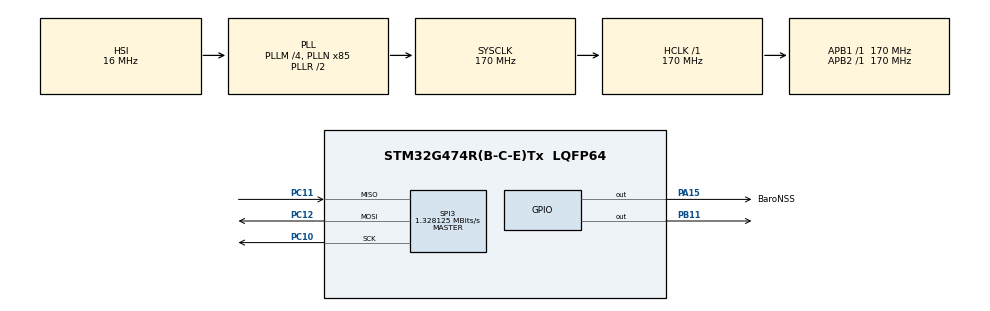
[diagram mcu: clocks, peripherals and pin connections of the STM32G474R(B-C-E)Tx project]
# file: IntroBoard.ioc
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Mcu.Family=STM32G4
Mcu.Name=STM32G474R(B-C-E)Tx
Mcu.Package=LQFP64
NUCLEO-G474RE.BUTTON=1
NUCLEO-G474RE.Bsp_Common_DEMO=true
NUCLEO-G474RE.LD2=true
NUCLEO-G474RE.VCP=true
NVIC.EXTI15_10_IRQn=true\:0\:0\:false\:false\:true\:false\:true\:true
NVIC.PriorityGroup=NVIC_PRIORITYGROUP_4
PA13.GPIO_Label=T_SWDIO
PA13.Signal=SYS_JTMS-SWDIO
PA14.GPIO_Label=T_SWCLK
PA14.Signal=SYS_JTCK-SWCLK
PA15.GPIO_Label=BaroNSS
PA15.PinState=GPIO_PIN_SET
PA15.Signal=GPIO_Output
PA2.Signal=LPUART1_TX
PA3.Signal=LPUART1_RX
PB11.Signal=GPIO_Output
PB3.GPIO_Label=T_SWO
PB3.Signal=SYS_JTDO-SWO
PC10.Mode=Full_Duplex_Master
PC10.Signal=SPI3_SCK
PC11.Mode=Full_Duplex_Master
PC11.Signal=SPI3_MISO
PC12.Mode=Full_Duplex_Master
PC12.Signal=SPI3_MOSI
PC14-OSC32_IN.GPIO_Label=RCC_OSC32_IN
PC14-OSC32_IN.Signal=RCC_OSC32_IN
PC15-OSC32_OUT.GPIO_Label=RCC_OSC32_OUT
PC15-OSC32_OUT.Signal=RCC_OSC32_OUT
PF0-OSC_IN.GPIO_Label=RCC_OSC_IN
PF0-OSC_IN.Signal=RCC_OSC_IN
PF1-OSC_OUT.GPIO_Label=RCC_OSC_OUT
PF1-OSC_OUT.Signal=RCC_OSC_OUT
ProjectManager.HeapSize=0x200
ProjectManager.StackSize=0x400
ProjectManager.TargetToolchain=Makefile
RCC.ADC12Freq_Value=170000000
RCC.ADC345Freq_Value=170000000
RCC.AHBFreq_Value=170000000
RCC.APB1Freq_Value=170000000
RCC.APB1TimFreq_Value=170000000
RCC.APB2Freq_Value=170000000
RCC.APB2TimFreq_Value=170000000
RCC.CortexFreq_Value=170000000
RCC.EXTERNAL_CLOCK_VALUE=12288000
RCC.HCLKFreq_Value=170000000
RCC.HSE_VALUE=24000000
RCC.HSI48_VALUE=48000000
RCC.HSI_VALUE=16000000
RCC.LSE_VALUE=32768
RCC.PLLM=RCC_PLLM_DIV4
RCC.PLLN=85
RCC.RTCClockSelection=RCC_RTCCLKSOURCE_LSE
RCC.SYSCLKFreq_VALUE=170000000
RCC.SYSCLKSource=RCC_SYSCLKSOURCE_PLLCLK
RCC.USBFreq_Value=170000000
RCC.VCOOutputFreq_Value=340000000
SPI3.BaudRatePrescaler=SPI_BAUDRATEPRESCALER_128
SPI3.CalculateBaudRate=1.328125 MBits/s
SPI3.DataSize=SPI_DATASIZE_8BIT
SPI3.Direction=SPI_DIRECTION_2LINES
SPI3.Mode=SPI_MODE_MASTER
SPI3.VirtualType=VM_MASTER
VP_NUCLEO-G474RE_VS_BSP_COMMON.Mode=COMMON
VP_SYS_VS_DBSignals.Mode=DisableDeadBatterySignals
board=NUCLEO-G474RE

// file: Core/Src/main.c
/* USER CODE BEGIN Header */
/**
  ******************************************************************************
  * @file           : main.c
  * @brief          : Main program body
  ******************************************************************************
  * @attention
  *
  * Copyright (c) 2026 STMicroelectronics.
  * All rights reserved.
  *
  * This software is licensed under terms that can be found in the LICENSE file
  * in the root directory of this software component.
  * If no LICENSE file comes with this software, it is provided AS-IS.
  *
  ******************************************************************************
  */
/* USER CODE END Header */
#include "main.h"

COM_InitTypeDef BspCOMInit;
__IO uint32_t BspButtonState = BUTTON_RELEASED;
SPI_HandleTypeDef hspi3;

void SystemClock_Config(void);
static void MX_GPIO_Init(void);
static void MX_SPI3_Init(void);
/* USER CODE BEGIN PFP */

void blink(int times, uint32_t on_ms, uint32_t off_ms);
/* USER CODE END PFP */

int main(void)
{

  /* MCU Configuration--------------------------------------------------------*/

  /* Reset of all peripherals, Initializes the Flash interface and the Systick. */
  HAL_Init();

  /* Configure the system clock */
  SystemClock_Config();

  /* Initialize all configured peripherals */
  MX_GPIO_Init();
  MX_SPI3_Init();
  /* USER CODE BEGIN 2 */

  GPIO_InitTypeDef GPIO_InitStruct = {0};
  GPIO_InitStruct.Pin = GPIO_PIN_8;
  GPIO_InitStruct.Mode = GPIO_MODE_OUTPUT_PP;
  GPIO_InitStruct.Pull = GPIO_NOPULL;
  GPIO_InitStruct.Speed = GPIO_SPEED_FREQ_LOW;
  HAL_GPIO_Init(GPIOA, &GPIO_InitStruct);
  HAL_GPIO_WritePin(GPIOA, GPIO_PIN_8, GPIO_PIN_SET);
  /* USER CODE END 2 */

  /* Initialize led */
  BSP_LED_Init(LED_GREEN);

  /* Initialize USER push-button, will be used to trigger an interrupt each time it's pressed.*/
  BSP_PB_Init(BUTTON_USER, BUTTON_MODE_EXTI);

  /* Initialize COM1 port (115200, 8 bits (7-bit data + 1 stop bit), no parity */
  BspCOMInit.BaudRate   = 115200;
  BspCOMInit.WordLength = COM_WORDLENGTH_8B;
  BspCOMInit.StopBits   = COM_STOPBITS_1;
  BspCOMInit.Parity     = COM_PARITY_NONE;
  BspCOMInit.HwFlowCtl  = COM_HWCONTROL_NONE;
  if (BSP_COM_Init(COM1, &BspCOMInit) != BSP_ERROR_NONE)
  {
    Error_Handler();
  }

  /* USER CODE BEGIN BSP */

  /* -- Sample board code to send message over COM1 port ---- */
  printf("Welcome to STM32 world !\n\r");

  /* -- Sample board code to switch on led ---- */
  BSP_LED_On(LED_GREEN);

  /* USER CODE END BSP */

  /* Infinite loop */
  /* USER CODE BEGIN WHILE */
  blink(3, 150, 150);
  while (1)
  {

    /* -- Sample board code for User push-button in interrupt mode ---- */
    if (BspButtonState == BUTTON_PRESSED)
    {
      // PROPER COMMAND FOR FLASHING: make -j all && make flash
      HAL_GPIO_WritePin(BaroNSS_GPIO_Port, BaroNSS_Pin, GPIO_PIN_RESET);
        if (HAL_GPIO_ReadPin(BaroNSS_GPIO_Port, BaroNSS_Pin) == GPIO_PIN_RESET)
          blink(2, 500, 200);     // CS really went low
        else
          blink(6, 80, 80);       // fast blinks = readback disagrees

      HAL_GPIO_WritePin(BaroNSS_GPIO_Port, BaroNSS_Pin, GPIO_PIN_SET);
        if (HAL_GPIO_ReadPin(BaroNSS_GPIO_Port, BaroNSS_Pin) == GPIO_PIN_SET)
          blink(3, 500, 200);     // CS really went high
        else
          blink(6, 80, 80);
      /* Update button state */
      BspButtonState = BUTTON_RELEASED;
      /* -- Sample board code to toggle led ---- */
      //HAL_GPIO_TogglePin(GPIOA, GPIO_PIN_8);
      //HAL_GPIO_WritePin();
      //BSP_LED_Toggle(LED_GREEN);

      /* ..... Perform your action ..... */
    }
    /* USER CODE END WHILE */

  }
}

void SystemClock_Config(void)
{
  RCC_OscInitTypeDef RCC_OscInitStruct = {0};
  RCC_ClkInitTypeDef RCC_ClkInitStruct = {0};

  /** Configure the main internal regulator output voltage
  */
  HAL_PWREx_ControlVoltageScaling(PWR_REGULATOR_VOLTAGE_SCALE1_BOOST);

  /** Initializes the RCC Oscillators according to the specified parameters
  * in the RCC_OscInitTypeDef structure.
  */
  RCC_OscInitStruct.OscillatorType = RCC_OSCILLATORTYPE_HSI;
  RCC_OscInitStruct.HSIState = RCC_HSI_ON;
  RCC_OscInitStruct.HSICalibrationValue = RCC_HSICALIBRATION_DEFAULT;
  RCC_OscInitStruct.PLL.PLLState = RCC_PLL_ON;
  RCC_OscInitStruct.PLL.PLLSource = RCC_PLLSOURCE_HSI;
  RCC_OscInitStruct.PLL.PLLM = RCC_PLLM_DIV4;
  RCC_OscInitStruct.PLL.PLLN = 85;
  RCC_OscInitStruct.PLL.PLLP = RCC_PLLP_DIV2;
  RCC_OscInitStruct.PLL.PLLQ = RCC_PLLQ_DIV2;
  RCC_OscInitStruct.PLL.PLLR = RCC_PLLR_DIV2;
  if (HAL_RCC_OscConfig(&RCC_OscInitStruct) != HAL_OK)
  {
    Error_Handler();
  }

  /** Initializes the CPU, AHB and APB buses clocks
  */
  RCC_ClkInitStruct.ClockType = RCC_CLOCKTYPE_HCLK|RCC_CLOCKTYPE_SYSCLK
                              |RCC_CLOCKTYPE_PCLK1|RCC_CLOCKTYPE_PCLK2;
  RCC_ClkInitStruct.SYSCLKSource = RCC_SYSCLKSOURCE_PLLCLK;
  RCC_ClkInitStruct.AHBCLKDivider = RCC_SYSCLK_DIV1;
  RCC_ClkInitStruct.APB1CLKDivider = RCC_HCLK_DIV1;
  RCC_ClkInitStruct.APB2CLKDivider = RCC_HCLK_DIV1;

  if (HAL_RCC_ClockConfig(&RCC_ClkInitStruct, FLASH_LATENCY_4) != HAL_OK)
  {
    Error_Handler();
  }
}

static void MX_SPI3_Init(void)
{

  /* SPI3 parameter configuration*/
  hspi3.Instance = SPI3;
  hspi3.Init.Mode = SPI_MODE_MASTER;
  hspi3.Init.Direction = SPI_DIRECTION_2LINES;
  hspi3.Init.DataSize = SPI_DATASIZE_8BIT;
  hspi3.Init.CLKPolarity = SPI_POLARITY_LOW;
  hspi3.Init.CLKPhase = SPI_PHASE_1EDGE;
  hspi3.Init.NSS = SPI_NSS_SOFT;
  hspi3.Init.BaudRatePrescaler = SPI_BAUDRATEPRESCALER_128;
  hspi3.Init.FirstBit = SPI_FIRSTBIT_MSB;
  hspi3.Init.TIMode = SPI_TIMODE_DISABLE;
  hspi3.Init.CRCCalculation = SPI_CRCCALCULATION_DISABLE;
  hspi3.Init.CRCPolynomial = 7;
  hspi3.Init.CRCLength = SPI_CRC_LENGTH_DATASIZE;
  hspi3.Init.NSSPMode = SPI_NSS_PULSE_ENABLE;
  if (HAL_SPI_Init(&hspi3) != HAL_OK)
  {
    Error_Handler();
  }

}

static void MX_GPIO_Init(void)
{
  GPIO_InitTypeDef GPIO_InitStruct = {0};

  /* GPIO Ports Clock Enable */
  __HAL_RCC_GPIOC_CLK_ENABLE();
  __HAL_RCC_GPIOF_CLK_ENABLE();
  __HAL_RCC_GPIOB_CLK_ENABLE();
  __HAL_RCC_GPIOA_CLK_ENABLE();

  /*Configure GPIO pin Output Level */
  HAL_GPIO_WritePin(GPIOB, GPIO_PIN_11, GPIO_PIN_RESET);

  /*Configure GPIO pin Output Level */
  HAL_GPIO_WritePin(BaroNSS_GPIO_Port, BaroNSS_Pin, GPIO_PIN_SET);

  /*Configure GPIO pin : PB11 */
  GPIO_InitStruct.Pin = GPIO_PIN_11;
  GPIO_InitStruct.Mode = GPIO_MODE_OUTPUT_PP;
  GPIO_InitStruct.Pull = GPIO_NOPULL;
  GPIO_InitStruct.Speed = GPIO_SPEED_FREQ_LOW;
  HAL_GPIO_Init(GPIOB, &GPIO_InitStruct);

  /*Configure GPIO pin : BaroNSS_Pin */
  GPIO_InitStruct.Pin = BaroNSS_Pin;
  GPIO_InitStruct.Mode = GPIO_MODE_OUTPUT_PP;
  GPIO_InitStruct.Pull = GPIO_NOPULL;
  GPIO_InitStruct.Speed = GPIO_SPEED_FREQ_LOW;
  HAL_GPIO_Init(BaroNSS_GPIO_Port, &GPIO_InitStruct);

}

/* USER CODE BEGIN 4 */

void blink(int times, uint32_t on_ms, uint32_t off_ms)
{
    for (int i = 0; i < times; i++) {
        BSP_LED_On(LED_GREEN);
        HAL_Delay(on_ms);
        BSP_LED_Off(LED_GREEN);
        HAL_Delay(off_ms);
    }
}

/* USER CODE END 4 */

/**
  * @brief BSP Push Button callback
  * @param Button Specifies the pressed button
  * @retval None
  */
void BSP_PB_Callback(Button_TypeDef Button)
{
  if (Button == BUTTON_USER)
  {
    BspButtonState = BUTTON_PRESSED;
  }
}

void Error_Handler(void)
{
  __disable_irq();
  while (1)
  {
  }
}
